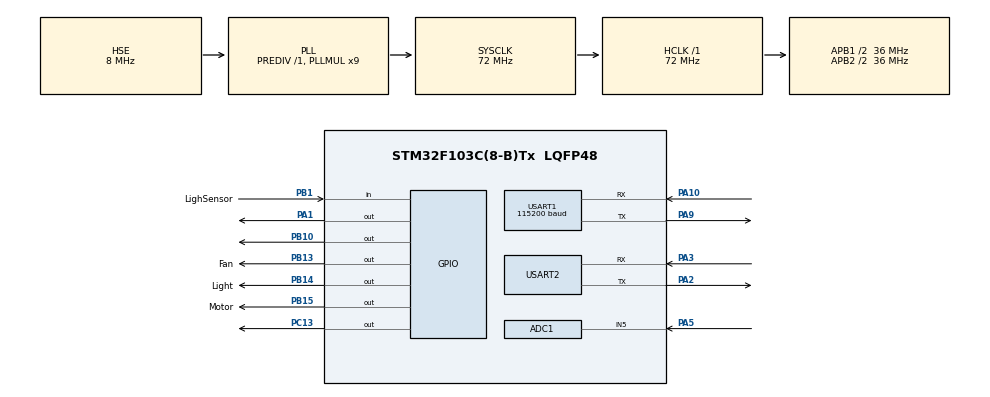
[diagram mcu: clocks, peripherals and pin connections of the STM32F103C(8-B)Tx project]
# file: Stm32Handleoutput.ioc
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ADC1.Channel-1\#ChannelRegularConversion=ADC_CHANNEL_5
ADC1.EnableInjectedConversion=DISABLE
ADC1.InjNumberOfConversion=0
ADC1.NbrOfConversionFlag=1
ADC1.Rank-1\#ChannelRegularConversion=1
ADC1.SamplingTime-1\#ChannelRegularConversion=ADC_SAMPLETIME_1CYCLE_5
ADC1.master=1
Dma.Request0=USART1_RX
Dma.Request1=USART2_RX
Dma.USART1_RX.0.Direction=DMA_PERIPH_TO_MEMORY
Dma.USART1_RX.0.Instance=DMA1_Channel5
Dma.USART1_RX.0.MemDataAlignment=DMA_MDATAALIGN_BYTE
Dma.USART1_RX.0.MemInc=DMA_MINC_ENABLE
Dma.USART1_RX.0.Mode=DMA_CIRCULAR
Dma.USART1_RX.0.PeriphDataAlignment=DMA_PDATAALIGN_BYTE
Dma.USART1_RX.0.PeriphInc=DMA_PINC_DISABLE
Dma.USART1_RX.0.Priority=DMA_PRIORITY_LOW
Dma.USART2_RX.1.Direction=DMA_PERIPH_TO_MEMORY
Dma.USART2_RX.1.Instance=DMA1_Channel6
Dma.USART2_RX.1.MemDataAlignment=DMA_MDATAALIGN_BYTE
Dma.USART2_RX.1.MemInc=DMA_MINC_ENABLE
Dma.USART2_RX.1.Mode=DMA_CIRCULAR
Dma.USART2_RX.1.PeriphDataAlignment=DMA_PDATAALIGN_BYTE
Dma.USART2_RX.1.PeriphInc=DMA_PINC_DISABLE
Dma.USART2_RX.1.Priority=DMA_PRIORITY_LOW
Mcu.Family=STM32F1
Mcu.Name=STM32F103C(8-B)Tx
Mcu.Package=LQFP48
NVIC.DMA1_Channel5_IRQn=true\:0\:0\:false\:false\:true\:false\:true\:true
NVIC.DMA1_Channel6_IRQn=true\:0\:0\:false\:false\:true\:false\:true\:true
NVIC.PriorityGroup=NVIC_PRIORITYGROUP_4
NVIC.TIM3_IRQn=true\:15\:0\:false\:false\:true\:false\:true\:true
NVIC.TimeBase=TIM3_IRQn
NVIC.TimeBaseIP=TIM3
PA1.Signal=GPIO_Output
PA10.Mode=Asynchronous
PA10.Signal=USART1_RX
PA13.Mode=Serial_Wire
PA13.Signal=SYS_JTMS-SWDIO
PA14.Mode=Serial_Wire
PA14.Signal=SYS_JTCK-SWCLK
PA2.Mode=Asynchronous
PA2.Signal=USART2_TX
PA3.Mode=Asynchronous
PA3.Signal=USART2_RX
PA5.Signal=ADCx_IN5
PA9.Mode=Asynchronous
PA9.Signal=USART1_TX
PB1.GPIO_Label=LighSensor
PB1.Signal=GPIO_Input
PB10.Signal=GPIO_Output
PB13.GPIO_Label=Fan
PB13.GPIO_PuPd=GPIO_PULLDOWN
PB13.Signal=GPIO_Output
PB14.GPIO_Label=Light
PB14.GPIO_PuPd=GPIO_PULLDOWN
PB14.Signal=GPIO_Output
PB15.GPIO_Label=Motor
PB15.GPIO_PuPd=GPIO_PULLDOWN
PB15.Signal=GPIO_Output
PC13-TAMPER-RTC.Signal=GPIO_Output
PD0-OSC_IN.Mode=HSE-External-Oscillator
PD0-OSC_IN.Signal=RCC_OSC_IN
PD1-OSC_OUT.Mode=HSE-External-Oscillator
PD1-OSC_OUT.Signal=RCC_OSC_OUT
ProjectManager.HeapSize=0x200
ProjectManager.StackSize=0x400
ProjectManager.TargetToolchain=STM32CubeIDE
RCC.ADCPresc=RCC_ADCPCLK2_DIV4
RCC.AHBFreq_Value=72000000
RCC.APB1CLKDivider=RCC_HCLK_DIV2
RCC.APB1Freq_Value=36000000
RCC.APB1TimFreq_Value=72000000
RCC.APB2CLKDivider=RCC_HCLK_DIV2
RCC.APB2Freq_Value=36000000
RCC.APB2TimFreq_Value=72000000
RCC.HCLKFreq_Value=72000000
RCC.PLLMUL=RCC_PLL_MUL9
RCC.PLLSourceVirtual=RCC_PLLSOURCE_HSE
RCC.SYSCLKFreq_VALUE=72000000
RCC.SYSCLKSource=RCC_SYSCLKSOURCE_PLLCLK
RCC.USBFreq_Value=72000000
SH.ADCx_IN5.0=ADC1_IN5,IN5
TIM1.Period=0xffff-1
TIM1.Prescaler=72-1
TIM2.Period=0xffff-1
TIM2.Prescaler=72-1
USART1.BaudRate=115200
USART1.VirtualMode=VM_ASYNC
USART1.WordLength=WORDLENGTH_8B
USART2.VirtualMode=VM_ASYNC
USART2.WordLength=WORDLENGTH_8B
VP_SYS_VS_tim3.Mode=TIM3
VP_TIM1_VS_ClockSourceINT.Mode=Internal
VP_TIM2_VS_ClockSourceINT.Mode=Internal
board=custom

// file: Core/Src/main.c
/* USER CODE BEGIN Header */
/**
  ******************************************************************************
  * @file           : main.c
  * @brief          : Main program body
  ******************************************************************************
  * @attention
  *
  * Copyright (c) 2024 STMicroelectronics.
  * All rights reserved.
  *
  * This software is licensed under terms that can be found in the LICENSE file
  * in the root directory of this software component.
  * If no LICENSE file comes with this software, it is provided AS-IS.
  *
  ******************************************************************************
  */
/* USER CODE END Header */
#include "main.h"
#include "adc.h"
#include "dma.h"
#include "tim.h"
#include "usart.h"
#include "gpio.h"

/* USER CODE BEGIN Includes */
#include "dht.h"
DHT_DataTypedef DHT_DATA;
uint8_t RxData[8];
uint8_t TxData[8];
uint8_t resultUart;
/* USER CODE END Includes */

void SystemClock_Config(void);

int main(void)
{

  /* MCU Configuration--------------------------------------------------------*/

  /* Reset of all peripherals, Initializes the Flash interface and the Systick. */
  HAL_Init();

  /* USER CODE BEGIN Init */
  	volatile static uint8_t sensorLight = 0;
    volatile static uint32_t huminityValue = 0;
    static uint8_t UserOption;
    static uint8_t LightState;
    static uint8_t MotorState;
    static uint8_t FanState;
  /* USER CODE END Init */

  /* Configure the system clock */
  SystemClock_Config();

  /* Initialize all configured peripherals */
  MX_GPIO_Init();
  MX_DMA_Init();
  MX_USART1_UART_Init();
  MX_TIM2_Init();
  MX_TIM1_Init();
  MX_ADC1_Init();
  MX_USART2_UART_Init();
  /* USER CODE BEGIN 2 */
  HAL_TIM_Base_Start(&htim1);
  HAL_Delay(1500);
//  HAL_UART_Receive_IT(&huart1, RxData, 8);
  HAL_UART_Receive_DMA(&huart2, RxData, 8);
  /* USER CODE END 2 */

  /* Infinite loop */
  while (1)
  {

    /* USER CODE BEGIN 3 */

	  HAL_GPIO_TogglePin(GPIOA, GPIO_PIN_2);

	  /* Read Data of DHT11 sensor */
	  DHT_GetData(&DHT_DATA);

	  /* Read Data of Light Sensor*/
	  sensorLight = HAL_GPIO_ReadPin(LighSensor_GPIO_Port, LighSensor_Pin);
//	  HAL_GPIO_WritePin(GPIOB, GPIO_PIN_10, sensorLight);

	  /* Read Data of earth humidity Sensor */
	  HAL_ADC_Start(&hadc1);
	  huminityValue = HAL_ADC_GetValue(&hadc1);
	  huminityValue = huminityValue/40;
	  /* Assign Data of Sensors to TxData*/
	  TxData[0] = sensorLight;
	  TxData[1] = (uint8_t)huminityValue;
	  TxData[2] = DHT_DATA.Temperature;
	  TxData[3] = DHT_DATA.Humidity;

	  HAL_Delay(500);

	  UserOption = RxData[0]; 	// assign UserOption equal User data receive via Uart
	  /* Check user option */
	  if(UserOption == 0)
	  {
		  LightState = RxData[1];	// assign LightState equal Light data receive via Uart
		  MotorState = RxData[2];	// assign MotorState equal Motor data receive via Uart
		  FanState = RxData[3];		// assign FanState equal Fan data receive via Uart
		  /* compare light state if light state on or off as soon as Turn on the light*/
		  if(LightState == 1)
		  {
			  HAL_GPIO_WritePin(Light_GPIO_Port, Light_Pin, LightState);
		  }
		  else HAL_GPIO_WritePin(Light_GPIO_Port, Light_Pin, LightState);

		  /* compare Motor state if Motor state on or off as soon as Turn on the Motor*/
		  if(MotorState == 1)
		  {
			  HAL_GPIO_WritePin(Motor_GPIO_Port, Motor_Pin, MotorState);
		  }
		  else HAL_GPIO_WritePin(Motor_GPIO_Port, Motor_Pin, MotorState);

		  /* compare Fan state if Motor Fan on or off as soon as Turn on the Fan*/
		  if(FanState == 1)
		  {
			  HAL_GPIO_WritePin(Fan_GPIO_Port, Fan_Pin, FanState);
		  }
		  else HAL_GPIO_WritePin(Fan_GPIO_Port, Fan_Pin, FanState);

		  TxData[4] = LightState;
		  TxData[5] = MotorState;
		  TxData[6] = FanState;

	  }
	  else if(UserOption == 1)
	  {
		  /*To do: control output to handle Motor, light, Fan*/
		  if(sensorLight == 1)
		  {
			  HAL_GPIO_WritePin(LighSensor_GPIO_Port, LighSensor_Pin, GPIO_PIN_SET);
			  LightState = 1;
		  }
		  else
		  {
			  HAL_GPIO_WritePin(LighSensor_GPIO_Port, LighSensor_Pin, GPIO_PIN_RESET);
			  LightState = 0;
		  }
		  /* */
		  if(DHT_DATA.Temperature >= 40 || DHT_DATA.Humidity <=70)
		  {
			  HAL_GPIO_WritePin(Fan_GPIO_Port, Fan_Pin, GPIO_PIN_SET);
			  FanState = 1;
		  }
		  else
		  {
			  HAL_GPIO_WritePin(Fan_GPIO_Port, Fan_Pin, GPIO_PIN_RESET);
			  FanState = 0;
		  }

		  if(huminityValue <40)
		  {
			  HAL_GPIO_WritePin(Motor_GPIO_Port, Motor_Pin, GPIO_PIN_SET);
			  MotorState = 1;
		  }
		  else
		  {
			  HAL_GPIO_WritePin(Motor_GPIO_Port, Motor_Pin, GPIO_PIN_RESET);
			  MotorState = 0;
		  }
		  TxData[4] = LightState;
		  TxData[5] = MotorState;
		  TxData[6] = FanState;
	  }
	  resultUart = HAL_UART_Transmit(&huart2, TxData, 8, 100);

	  if(resultUart == HAL_OK)
	  {
	  	  HAL_GPIO_TogglePin(GPIOA, GPIO_PIN_2);
	  }
  }
  /* USER CODE END 3 */
}

void SystemClock_Config(void)
{
  RCC_OscInitTypeDef RCC_OscInitStruct = {0};
  RCC_ClkInitTypeDef RCC_ClkInitStruct = {0};
  RCC_PeriphCLKInitTypeDef PeriphClkInit = {0};

  /** Initializes the RCC Oscillators according to the specified parameters
  * in the RCC_OscInitTypeDef structure.
  */
  RCC_OscInitStruct.OscillatorType = RCC_OSCILLATORTYPE_HSE;
  RCC_OscInitStruct.HSEState = RCC_HSE_ON;
  RCC_OscInitStruct.HSEPredivValue = RCC_HSE_PREDIV_DIV1;
  RCC_OscInitStruct.HSIState = RCC_HSI_ON;
  RCC_OscInitStruct.PLL.PLLState = RCC_PLL_ON;
  RCC_OscInitStruct.PLL.PLLSource = RCC_PLLSOURCE_HSE;
  RCC_OscInitStruct.PLL.PLLMUL = RCC_PLL_MUL9;
  if (HAL_RCC_OscConfig(&RCC_OscInitStruct) != HAL_OK)
  {
    Error_Handler();
  }

  /** Initializes the CPU, AHB and APB buses clocks
  */
  RCC_ClkInitStruct.ClockType = RCC_CLOCKTYPE_HCLK|RCC_CLOCKTYPE_SYSCLK
                              |RCC_CLOCKTYPE_PCLK1|RCC_CLOCKTYPE_PCLK2;
  RCC_ClkInitStruct.SYSCLKSource = RCC_SYSCLKSOURCE_PLLCLK;
  RCC_ClkInitStruct.AHBCLKDivider = RCC_SYSCLK_DIV1;
  RCC_ClkInitStruct.APB1CLKDivider = RCC_HCLK_DIV2;
  RCC_ClkInitStruct.APB2CLKDivider = RCC_HCLK_DIV2;

  if (HAL_RCC_ClockConfig(&RCC_ClkInitStruct, FLASH_LATENCY_2) != HAL_OK)
  {
    Error_Handler();
  }
  PeriphClkInit.PeriphClockSelection = RCC_PERIPHCLK_ADC;
  PeriphClkInit.AdcClockSelection = RCC_ADCPCLK2_DIV4;
  if (HAL_RCCEx_PeriphCLKConfig(&PeriphClkInit) != HAL_OK)
  {
    Error_Handler();
  }
}

/* USER CODE BEGIN 4 */
//void HAL_UART_RxCpltCallback(UART_HandleTypeDef *huart)
//{
//	if(huart->Instance == huart1.Instance)
//	{
//		HAL_UART_Receive_IT(&huart1, RxData, 8);
//		HAL_GPIO_TogglePin(GPIOB, GPIO_PIN_10);
//	}
//
//}

/* USER CODE END 4 */

void HAL_TIM_PeriodElapsedCallback(TIM_HandleTypeDef *htim)
{
  if (htim->Instance == TIM3) {
    HAL_IncTick();
  }
}

void Error_Handler(void)
{
  __disable_irq();
  while (1)
  {
  }
}
